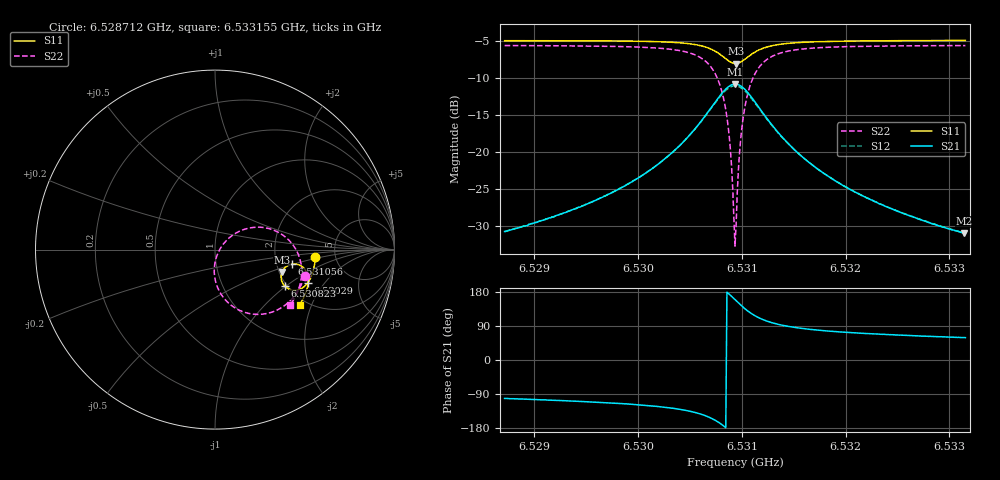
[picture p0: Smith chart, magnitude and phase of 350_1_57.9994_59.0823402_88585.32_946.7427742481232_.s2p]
#  HZ  S  RI  R  50.00
! Rohde & Schwarz Vector Network Analyzer
! Rohde-Schwarz,ZNB20-2Port,1311601062101988,3.16
! Created: UTC 3/21/2024, 1:05:58 AM
! freq[Hz]  re:S11  im:S11  re:S21  im:S21  re:S12  im:S12  re:S22  im:S22
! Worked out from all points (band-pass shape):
!   401 points, 6.528712 GHz to 6.533155 GHz, reference 50 ohm
!   highest |S21| = -10.86 dB at 6.530934 GHz (marker M1); lowest = -31.0 dB at 6.533144 GHz (marker M2)
!   |S21| within 3 dB of the highest: 6.530713 GHz to 6.531157 GHz (443.5 kHz wide, 0.00679 % of centre)
!   lowest |S11| = -8.1 dB at 6.530945 GHz (marker M3), VSWR 2.30, Z = 103 - j30.7 ohm
!   |S11| at or under -10 dB: nowhere
!   |S22| runs from -32.7 to -5.7 dB; largest |S21 - S12| = 0.011
!   S11 on the Smith chart (normalised r, x): 6.528712 GHz: 3.50, -0.43; 6.53029 GHz: 2.62, -1.38; 6.530823 GHz: 1.94, -0.97; 6.531056 GHz: 2.43, -0.49; 6.533155 GHz: 1.82, -1.65
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6.5287124e9  0.5598 -0.0416  -0.00571 -0.0285  -0.00631 -0.0284  0.5003 -0.1447
6.5294566e9  0.5511 -0.1026  -0.0144 -0.0406  -0.0153 -0.0404  0.472 -0.2122
6.5302007e9  0.5245 -0.174  -0.0456 -0.07  -0.0474 -0.0689  0.3961 -0.3054
6.5302896e9  0.5177 -0.1843  -0.0548 -0.0761  -0.0569 -0.0746  0.3762 -0.3198
6.5306561e9  0.4546 -0.2254  -0.1513 -0.0951  -0.1536 -0.0892  0.1922 -0.3564
6.5307561e9  0.416 -0.2213  -0.2112 -0.0722  -0.2109 -0.0637  0.0897 -0.3099
6.5308227e9  0.3873 -0.2017  -0.254 -0.0285  -0.25 -0.0194  0.0229 -0.2297
6.5308782e9  0.3706 -0.1711  -0.2756 0.0309  -0.2681 0.0385  -0.00417 -0.127
6.5309116e9  0.3682 -0.1483  -0.2751 0.0734  -0.266 0.0787  0.00323 -0.0572
6.5309227e9  0.3691 -0.1405  -0.2722 0.0877  -0.2628 0.0921  0.0105 -0.0342
6.5309338e9  0.371 -0.1328  -0.2679 0.1016  -0.2582 0.1052  0.0199 -0.0119
6.5309449e9  0.3735 -0.1252  -0.262 0.1151  -0.2523 0.1179  0.0315 0.00934
6.530956e9  0.3769 -0.1181  -0.255 0.1277  -0.2454 0.1297  0.0452 0.0293
6.5309782e9  0.3857 -0.1053  -0.2374 0.1507  -0.2284 0.1509  0.0774 0.0639
6.5310004e9  0.3967 -0.095  -0.2168 0.169  -0.2086 0.168  0.1144 0.0908
6.5310559e9  0.428 -0.0812  -0.1601 0.1943  -0.1544 0.1915  0.2124 0.1234
6.5311337e9  0.4663 -0.0846  -0.0925 0.1925  -0.0896 0.19  0.326 0.1086
6.5312448e9  0.4988 -0.1071  -0.0357 0.1631  -0.0342 0.1617  0.4188 0.0452
6.5316779e9  0.52 -0.1827  0.0139 0.0806  0.0149 0.0804  0.4829 -0.1306
6.5324221e9  0.4995 -0.2555  0.0166 0.0385  0.0171 0.0384  0.4552 -0.2458
6.533144e9  0.4717 -0.3084  0.0144 0.0243  0.015 0.0241  0.4203 -0.3073
6.5331551e9  0.4713 -0.309  0.0146 0.0243  0.0151 0.024  0.4196 -0.3081
